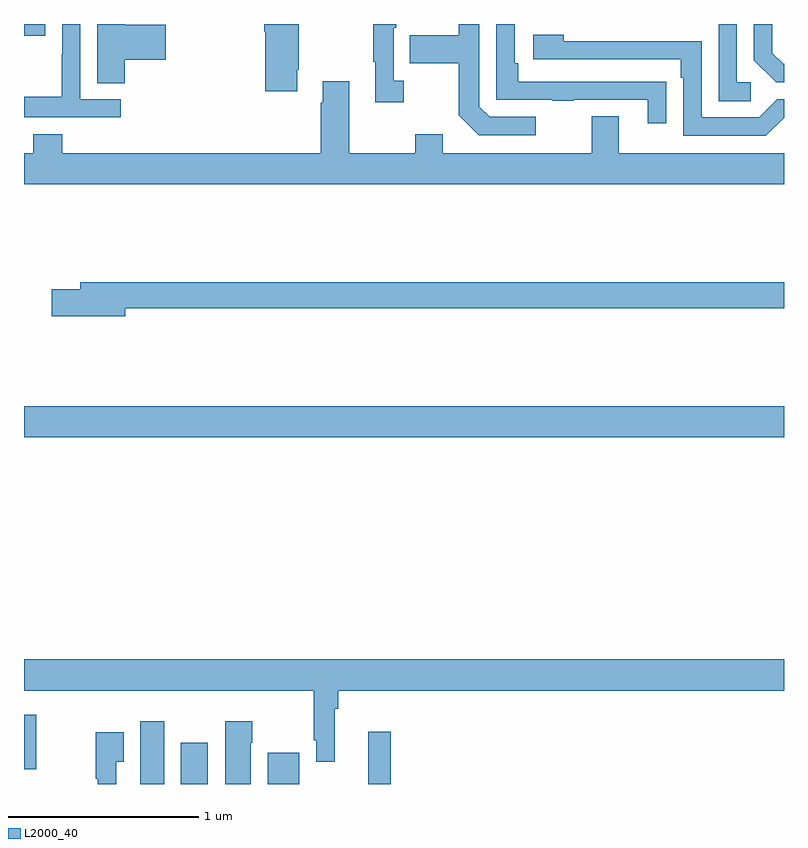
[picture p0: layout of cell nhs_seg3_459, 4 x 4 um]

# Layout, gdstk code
import gdstk
lib = gdstk.Library(unit=1e-6, precision=1e-09)
def R(c, l, rs):  # rectangles x0, y0, x1, y1
    for r in rs: c.add(gdstk.rectangle(r[:2], r[2:], *l))
def P(c, l, *ps):  # polygons
    for p in ps: c.add(gdstk.Polygon(p, *l))
L2000_40 = (2000, 40)

nhs_seg3_459 = lib.new_cell('nhs_seg3_459')
R(nhs_seg3_459, L2000_40, [(133.613,724.4,133.738,724.729), (133.826,724.4,133.966,724.618), (134.282,724.4,134.449,724.564), (134.813,724.4,134.93,724.675), (133,724.478,133.065,724.765), (133,726.224,137,726.388), (133,728.337,133.111,728.4)])
P(nhs_seg3_459, L2000_40, [(137,728.19),(136.996,728.19),(136.939,728.247),(136.939,728.4),(136.842,728.4),(136.842,728.21),(136.958,728.094),(137,728.094)],
  [(134.437,728.158),(134.445,728.158),(134.445,728.4),(134.264,728.4),(134.264,728.358),(134.27,728.358),(134.27,728.046),(134.437,728.046)],
  [(135.694,727.911),(135.45,727.911),(135.396,727.965),(135.396,728.4),(135.288,728.4),(135.288,728.341),(135.031,728.341),(135.031,728.194),(135.288,728.194),(135.288,727.921),(135.393,727.815),(135.694,727.815)],
  [(136.379,728.096),(136.277,728.096),(136.277,728.097),(135.602,728.097),(135.602,728.194),(135.582,728.194),(135.582,728.4),(135.486,728.4),(135.486,728.001),(135.781,728.001),(135.781,727.996),(135.893,727.996),(135.893,728.001),(136.283,728.001),(136.283,727.878),(136.379,727.878)],
  [(136.825,728.094),(136.752,728.094),(136.752,728.4),(136.656,728.4),(136.656,727.993),(136.825,727.993)],
  [(134.998,728.102),(134.946,728.102),(134.946,728.381),(134.959,728.381),(134.959,728.4),(134.838,728.4),(134.838,728.201),(134.849,728.201),(134.849,727.989),(134.998,727.989)],
  [(133.51,728.004),(133.296,728.004),(133.296,728.4),(133.2,728.4),(133.2,728.24),(133.198,728.24),(133.198,728.017),(133,728.017),(133,727.908),(133.51,727.908)],
  [(133.529,728.213),(133.747,728.213),(133.747,728.396),(133.529,728.396),(133.529,728.4),(133.385,728.4),(133.385,728.089),(133.529,728.089)],
  [(137,727.907),(137,728.004),(136.965,728.004),(136.869,727.908),(136.566,727.908),(136.566,728.31),(135.842,728.31),(135.842,728.344),(135.681,728.344),(135.681,728.214),(136.457,728.214),(136.457,728.117),(136.47,728.117),(136.47,727.812),(136.905,727.812)],
  [(137,727.72),(136.129,727.72),(136.129,727.915),(135.989,727.915),(135.989,727.72),(135.205,727.72),(135.205,727.819),(135.058,727.819),(135.058,727.72),(134.713,727.72),(134.713,728.098),(134.573,728.098),(134.573,727.985),(134.561,727.985),(134.561,727.72),(133.202,727.72),(133.202,727.819),(133.049,727.819),(133.049,727.72),(133,727.72),(133,727.556),(137,727.556)],
  [(133.534,726.904),(137,726.904),(137,727.04),(133.295,727.04),(133.295,727.004),(133.146,727.004),(133.146,726.862),(133.534,726.862)],
  [(134.636,724.796),(134.654,724.796),(134.654,724.892),(137,724.892),(137,725.056),(133,725.056),(133,724.892),(134.526,724.892),(134.526,724.63),(134.538,724.63),(134.538,724.518),(134.636,724.518)],
  [(134.194,724.616),(134.202,724.616),(134.202,724.729),(134.06,724.729),(134.06,724.4),(134.194,724.4)],
  [(133.485,724.516),(133.525,724.516),(133.525,724.672),(133.377,724.672),(133.377,724.427),(133.389,724.427),(133.389,724.4),(133.485,724.4)])

lib.write_gds('nhs_seg3_459.gds')
